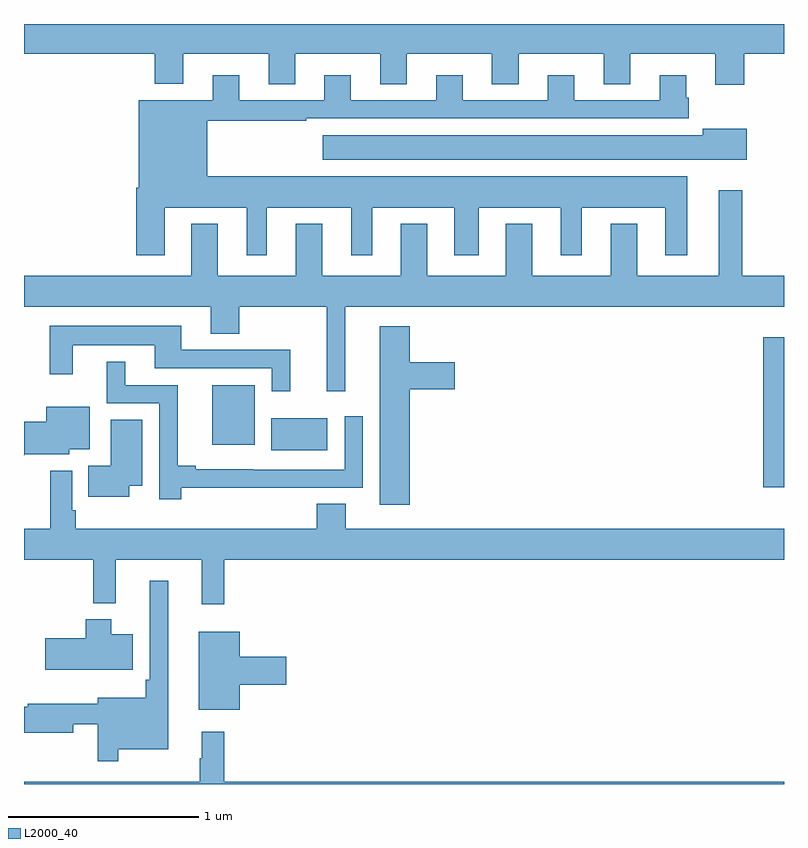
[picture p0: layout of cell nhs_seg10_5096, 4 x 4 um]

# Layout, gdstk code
import gdstk
lib = gdstk.Library(unit=1e-6, precision=1e-09)
def R(c, l, rs):  # rectangles x0, y0, x1, y1
    for r in rs: c.add(gdstk.rectangle(r[:2], r[2:], *l))
def P(c, l, *ps):  # polygons
    for p in ps: c.add(gdstk.Polygon(p, *l))
L2000_40 = (2000, 40)

nhs_seg10_5096 = lib.new_cell('nhs_seg10_5096')
R(nhs_seg10_5096, L2000_40, [(410.892,1270.061,411,1270.852), (408.302,1270.256,408.595,1270.426), (407.99,1270.286,408.214,1270.6)])
P(nhs_seg10_5096, L2000_40, [(410.792,1272.344),(411,1272.344),(411,1272.5),(407,1272.5),(407,1272.344),(407.687,1272.344),(407.687,1272.185),(407.839,1272.185),(407.839,1272.344),(408.287,1272.344),(408.287,1272.184),(408.427,1272.184),(408.427,1272.344),(408.875,1272.344),(408.875,1272.184),(409.015,1272.184),(409.015,1272.344),(409.463,1272.344),(409.463,1272.184),(409.603,1272.184),(409.603,1272.344),(410.051,1272.344),(410.051,1272.184),(410.191,1272.184),(410.191,1272.344),(410.639,1272.344),(410.639,1272.18),(410.792,1272.18)],
  [(407.74,1271.534),(408.173,1271.534),(408.173,1271.283),(408.277,1271.283),(408.277,1271.534),(408.722,1271.534),(408.722,1271.283),(408.832,1271.283),(408.832,1271.534),(409.265,1271.534),(409.265,1271.283),(409.393,1271.283),(409.393,1271.534),(409.826,1271.534),(409.826,1271.283),(409.936,1271.283),(409.936,1271.534),(410.375,1271.534),(410.375,1271.283),(410.491,1271.283),(410.491,1271.698),(407.965,1271.698),(407.965,1271.991),(408.485,1271.991),(408.485,1272.003),(410.498,1272.003),(410.498,1272.111),(410.485,1272.111),(410.485,1272.229),(410.345,1272.229),(410.345,1272.099),(409.897,1272.099),(409.897,1272.229),(409.757,1272.229),(409.757,1272.099),(409.309,1272.099),(409.309,1272.229),(409.169,1272.229),(409.169,1272.099),(408.721,1272.099),(408.721,1272.229),(408.581,1272.229),(408.581,1272.099),(408.133,1272.099),(408.133,1272.229),(407.993,1272.229),(407.993,1272.1),(407.603,1272.1),(407.603,1271.638),(407.591,1271.638),(407.591,1271.283),(407.74,1271.283)],
  [(410.803,1271.95),(410.573,1271.95),(410.573,1271.914),(408.573,1271.914),(408.573,1271.786),(410.803,1271.786)],
  [(408.692,1271.012),(411,1271.012),(411,1271.176),(410.779,1271.176),(410.779,1271.626),(410.657,1271.626),(410.657,1271.176),(410.227,1271.176),(410.227,1271.449),(410.087,1271.449),(410.087,1271.176),(409.675,1271.176),(409.675,1271.449),(409.535,1271.449),(409.535,1271.176),(409.123,1271.176),(409.123,1271.449),(408.983,1271.449),(408.983,1271.176),(408.571,1271.176),(408.571,1271.449),(408.431,1271.449),(408.431,1271.176),(408.019,1271.176),(408.019,1271.449),(407.879,1271.449),(407.879,1271.176),(407,1271.176),(407,1271.012),(407.984,1271.012),(407.984,1270.87),(408.132,1270.87),(408.132,1271.012),(408.593,1271.012),(408.593,1270.566),(408.692,1270.566)],
  [(408.401,1270.785),(407.827,1270.785),(407.827,1270.912),(407.136,1270.912),(407.136,1270.656),(407.257,1270.656),(407.257,1270.808),(407.687,1270.808),(407.687,1270.689),(408.303,1270.689),(408.303,1270.566),(408.401,1270.566)],
  [(409.031,1270.577),(409.267,1270.577),(409.267,1270.719),(409.031,1270.719),(409.031,1270.909),(408.872,1270.909),(408.872,1269.969),(409.031,1269.969)],
  [(407.828,1270.058),(408.458,1270.058),(408.458,1270.059),(408.783,1270.059),(408.783,1270.435),(408.687,1270.435),(408.687,1270.155),(408.206,1270.155),(408.206,1270.156),(407.905,1270.156),(407.905,1270.175),(407.81,1270.175),(407.81,1270.599),(407.533,1270.599),(407.533,1270.723),(407.435,1270.723),(407.435,1270.503),(407.712,1270.503),(407.712,1269.999),(407.828,1269.999)],
  [(407.002,1270.235),(407.238,1270.235),(407.238,1270.262),(407.347,1270.262),(407.347,1270.486),(407.117,1270.486),(407.117,1270.406),(407,1270.406),(407,1270.228),(407.002,1270.228)],
  [(407.554,1270.07),(407.623,1270.07),(407.623,1270.418),(407.456,1270.418),(407.456,1270.174),(407.338,1270.174),(407.338,1270.013),(407.554,1270.013)],
  [(407.253,1269.94),(407.253,1270.15),(407.137,1270.15),(407.137,1269.844),(407,1269.844),(407,1269.68),(407.365,1269.68),(407.365,1269.452),(407.483,1269.452),(407.483,1269.68),(407.936,1269.68),(407.936,1269.447),(408.053,1269.447),(408.053,1269.68),(411,1269.68),(411,1269.844),(408.694,1269.844),(408.694,1269.974),(408.542,1269.974),(408.542,1269.844),(407.273,1269.844),(407.273,1269.94)],
  [(407.497,1268.684),(407.758,1268.684),(407.758,1269.571),(407.661,1269.571),(407.661,1269.049),(407.641,1269.049),(407.641,1268.953),(407.387,1268.953),(407.387,1268.923),(407.021,1268.923),(407.021,1268.906),(407,1268.906),(407,1268.771),(407.26,1268.771),(407.26,1268.814),(407.388,1268.814),(407.388,1268.619),(407.497,1268.619)],
  [(407.572,1269.289),(407.458,1269.289),(407.458,1269.367),(407.324,1269.367),(407.324,1269.267),(407.112,1269.267),(407.112,1269.101),(407.572,1269.101)],
  [(408.136,1269.023),(408.379,1269.023),(408.379,1269.17),(408.136,1269.17),(408.136,1269.301),(407.921,1269.301),(407.921,1268.891),(408.136,1268.891)],
  [(411,1268.512),(408.053,1268.512),(408.053,1268.776),(407.936,1268.776),(407.936,1268.636),(407.925,1268.636),(407.925,1268.512),(407,1268.512),(407,1268.5),(411,1268.5)])

lib.write_gds('nhs_seg10_5096.gds')
